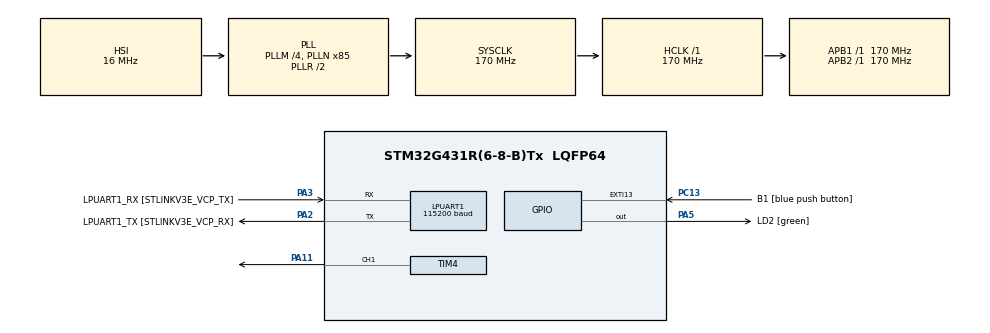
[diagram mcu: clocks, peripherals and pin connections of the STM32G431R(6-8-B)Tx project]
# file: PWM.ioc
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LPUART1.BaudRate=115200
LPUART1.WordLength=UART_WORDLENGTH_8B
Mcu.Family=STM32G4
Mcu.Name=STM32G431R(6-8-B)Tx
Mcu.Package=LQFP64
NVIC.EXTI15_10_IRQn=true\:0\:0\:false\:false\:true\:true\:true\:true
NVIC.PriorityGroup=NVIC_PRIORITYGROUP_4
NVIC.TIM8_UP_IRQn=true\:0\:0\:false\:false\:true\:true\:true\:true
PA11.Signal=S_TIM4_CH1
PA13.GPIO_Label=T_SWDIO
PA13.Mode=Serial_Wire
PA13.Signal=SYS_JTMS-SWDIO
PA14.GPIO_Label=T_SWCLK
PA14.Mode=Serial_Wire
PA14.Signal=SYS_JTCK-SWCLK
PA2.GPIO_Label=LPUART1_TX [STLINKV3E_VCP_RX]
PA2.Mode=Asynchronous
PA2.Signal=LPUART1_TX
PA3.GPIO_Label=LPUART1_RX [STLINKV3E_VCP_TX]
PA3.Mode=Asynchronous
PA3.Signal=LPUART1_RX
PA5.GPIO_Label=LD2 [green]
PA5.Signal=GPIO_Output
PB3.GPIO_Label=T_SWO
PB3.Signal=SYS_JTDO-SWO
PC13.GPIO_Label=B1 [blue push button]
PC13.GPIO_ModeDefaultEXTI=GPIO_MODE_IT_RISING
PC13.GPIO_PuPd=GPIO_NOPULL
PC13.Signal=GPXTI13
PC14-OSC32_IN.Mode=LSE-External-Oscillator
PC14-OSC32_IN.Signal=RCC_OSC32_IN
PC15-OSC32_OUT.Mode=LSE-External-Oscillator
PC15-OSC32_OUT.Signal=RCC_OSC32_OUT
PF0-OSC_IN.Mode=HSE-External-Oscillator
PF0-OSC_IN.Signal=RCC_OSC_IN
PF1-OSC_OUT.Mode=HSE-External-Oscillator
PF1-OSC_OUT.Signal=RCC_OSC_OUT
ProjectManager.HeapSize=0x200
ProjectManager.StackSize=0x400
ProjectManager.TargetToolchain=STM32CubeIDE
RCC.ADC12Freq_Value=170000000
RCC.AHBFreq_Value=170000000
RCC.APB1Freq_Value=170000000
RCC.APB1TimFreq_Value=170000000
RCC.APB2Freq_Value=170000000
RCC.APB2TimFreq_Value=170000000
RCC.CortexFreq_Value=170000000
RCC.EXTERNAL_CLOCK_VALUE=12288000
RCC.HCLKFreq_Value=170000000
RCC.HSE_VALUE=24000000
RCC.HSI48_VALUE=48000000
RCC.HSI_VALUE=16000000
RCC.PLLM=RCC_PLLM_DIV4
RCC.PLLN=85
RCC.RTCClockSelection=RCC_RTCCLKSOURCE_LSE
RCC.SYSCLKFreq_VALUE=170000000
RCC.SYSCLKSource=RCC_SYSCLKSOURCE_PLLCLK
RCC.USBFreq_Value=170000000
RCC.VCOOutputFreq_Value=340000000
SH.S_TIM4_CH1.0=TIM4_CH1,PWM Generation1 CH1
TIM4.Channel-PWM\ Generation1\ CH1=TIM_CHANNEL_1
TIM4.PeriodNoDither=999
TIM4.Prescaler=169
TIM4.PulseNoDither_1=999
TIM8.PeriodNoDither=9999
TIM8.Prescaler=16999
VP_SYS_VS_DBSignals.Mode=DisableDeadBatterySignals
VP_TIM8_VS_ClockSourceINT.Mode=Internal
board=NUCLEO-G431RB

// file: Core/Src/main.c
/* USER CODE BEGIN Header */
/**
  ******************************************************************************
  * @file           : main.c
  * @brief          : Main program body
  ******************************************************************************
  * @attention
  *
  * Copyright (c) 2024 STMicroelectronics.
  * All rights reserved.
  *
  * This software is licensed under terms that can be found in the LICENSE file
  * in the root directory of this software component.
  * If no LICENSE file comes with this software, it is provided AS-IS.
  *
  ******************************************************************************
  */
/* USER CODE END Header */
#include "main.h"

UART_HandleTypeDef hlpuart1;

TIM_HandleTypeDef htim4;
TIM_HandleTypeDef htim8;

/* USER CODE BEGIN PV */
double Duty_Cycle = 0.0;
double freq = 0.0;
/* USER CODE END PV */

void SystemClock_Config(void);
static void MX_GPIO_Init(void);
static void MX_LPUART1_UART_Init(void);
static void MX_TIM4_Init(void);
static void MX_TIM8_Init(void);

/* USER CODE BEGIN 0 */
int i = 0;
/* USER CODE END 0 */

int main(void)
{

  /* MCU Configuration--------------------------------------------------------*/

  /* Reset of all peripherals, Initializes the Flash interface and the Systick. */
  HAL_Init();

  /* Configure the system clock */
  SystemClock_Config();

  /* Initialize all configured peripherals */
  MX_GPIO_Init();
  MX_LPUART1_UART_Init();
  MX_TIM4_Init();
  MX_TIM8_Init();
  /* USER CODE BEGIN 2 */
  HAL_TIM_PWM_Start(&htim4, TIM_CHANNEL_1);
  HAL_TIM_Base_Start_IT(&htim8);
  /* USER CODE END 2 */

  /* Infinite loop */
  while (1)
  {

    /* USER CODE BEGIN 3 */

	  // Beginner
	  // ARR+1 = 1000
//	  __HAL_TIM_SET_COMPARE(&htim4, TIM_CHANNEL_1, 300);
//	  HAL_Delay(500);
//	  __HAL_TIM_SET_COMPARE(&htim4, TIM_CHANNEL_1, 500);
//	  HAL_Delay(500);
//	  __HAL_TIM_SET_COMPARE(&htim4, TIM_CHANNEL_1, 700);
//	  HAL_Delay(500);
//	  __HAL_TIM_SET_COMPARE(&htim4, TIM_CHANNEL_1, 900);
//	  HAL_Delay(500);

	  // Basic
	  // ARR+1 = 1000
//	  for(i=0; i<999;i++){
//		  HAL_Delay(1);
//		  __HAL_TIM_SET_COMPARE(&htim4, TIM_CHANNEL_1, i);
//	  }
//	  for(i=999; i>0;i--){
//		  HAL_Delay(1);
//		  __HAL_TIM_SET_COMPARE(&htim4, TIM_CHANNEL_1, i);
//	  }

	  // Advanced - 1
	  // Initial: PSC = 169, ARR = 999, Pulse = 1000
//	  for(int i=999; i<1999; i++){
//	      HAL_TIM_SET_AUTORELOAD(&htim4, i);
//	      freq = 170*1000000/((i+1)*(169+1));
//	      Duty_Cycle = 1000/(i+1);
//	      Delay(200);
//	  }
//	  for(int i=1999; i>999; i--){
//	      HAL_TIM_SET_AUTORELOAD(&htim4, i);
//	      freq = 170*1000000/((i+1)*(169+1));
//	      Duty_Cycle = 1000/(i+1);
//	      Delay(200);
//	  }

	  // Advanced - 2 is in section "User code 4"
  }
  /* USER CODE END 3 */
}

void SystemClock_Config(void)
{
  RCC_OscInitTypeDef RCC_OscInitStruct = {0};
  RCC_ClkInitTypeDef RCC_ClkInitStruct = {0};

  /** Configure the main internal regulator output voltage
  */
  HAL_PWREx_ControlVoltageScaling(PWR_REGULATOR_VOLTAGE_SCALE1_BOOST);

  /** Initializes the RCC Oscillators according to the specified parameters
  * in the RCC_OscInitTypeDef structure.
  */
  RCC_OscInitStruct.OscillatorType = RCC_OSCILLATORTYPE_HSI;
  RCC_OscInitStruct.HSIState = RCC_HSI_ON;
  RCC_OscInitStruct.HSICalibrationValue = RCC_HSICALIBRATION_DEFAULT;
  RCC_OscInitStruct.PLL.PLLState = RCC_PLL_ON;
  RCC_OscInitStruct.PLL.PLLSource = RCC_PLLSOURCE_HSI;
  RCC_OscInitStruct.PLL.PLLM = RCC_PLLM_DIV4;
  RCC_OscInitStruct.PLL.PLLN = 85;
  RCC_OscInitStruct.PLL.PLLP = RCC_PLLP_DIV2;
  RCC_OscInitStruct.PLL.PLLQ = RCC_PLLQ_DIV2;
  RCC_OscInitStruct.PLL.PLLR = RCC_PLLR_DIV2;
  if (HAL_RCC_OscConfig(&RCC_OscInitStruct) != HAL_OK)
  {
    Error_Handler();
  }

  /** Initializes the CPU, AHB and APB buses clocks
  */
  RCC_ClkInitStruct.ClockType = RCC_CLOCKTYPE_HCLK|RCC_CLOCKTYPE_SYSCLK
                              |RCC_CLOCKTYPE_PCLK1|RCC_CLOCKTYPE_PCLK2;
  RCC_ClkInitStruct.SYSCLKSource = RCC_SYSCLKSOURCE_PLLCLK;
  RCC_ClkInitStruct.AHBCLKDivider = RCC_SYSCLK_DIV1;
  RCC_ClkInitStruct.APB1CLKDivider = RCC_HCLK_DIV1;
  RCC_ClkInitStruct.APB2CLKDivider = RCC_HCLK_DIV1;

  if (HAL_RCC_ClockConfig(&RCC_ClkInitStruct, FLASH_LATENCY_4) != HAL_OK)
  {
    Error_Handler();
  }
}

static void MX_LPUART1_UART_Init(void)
{

  hlpuart1.Instance = LPUART1;
  hlpuart1.Init.BaudRate = 115200;
  hlpuart1.Init.WordLength = UART_WORDLENGTH_8B;
  hlpuart1.Init.StopBits = UART_STOPBITS_1;
  hlpuart1.Init.Parity = UART_PARITY_NONE;
  hlpuart1.Init.Mode = UART_MODE_TX_RX;
  hlpuart1.Init.HwFlowCtl = UART_HWCONTROL_NONE;
  hlpuart1.Init.OneBitSampling = UART_ONE_BIT_SAMPLE_DISABLE;
  hlpuart1.Init.ClockPrescaler = UART_PRESCALER_DIV1;
  hlpuart1.AdvancedInit.AdvFeatureInit = UART_ADVFEATURE_NO_INIT;
  if (HAL_UART_Init(&hlpuart1) != HAL_OK)
  {
    Error_Handler();
  }
  if (HAL_UARTEx_SetTxFifoThreshold(&hlpuart1, UART_TXFIFO_THRESHOLD_1_8) != HAL_OK)
  {
    Error_Handler();
  }
  if (HAL_UARTEx_SetRxFifoThreshold(&hlpuart1, UART_RXFIFO_THRESHOLD_1_8) != HAL_OK)
  {
    Error_Handler();
  }
  if (HAL_UARTEx_DisableFifoMode(&hlpuart1) != HAL_OK)
  {
    Error_Handler();
  }

}

static void MX_TIM4_Init(void)
{

  TIM_MasterConfigTypeDef sMasterConfig = {0};
  TIM_OC_InitTypeDef sConfigOC = {0};

  htim4.Instance = TIM4;
  htim4.Init.Prescaler = 169;
  htim4.Init.CounterMode = TIM_COUNTERMODE_UP;
  htim4.Init.Period = 999;
  htim4.Init.ClockDivision = TIM_CLOCKDIVISION_DIV1;
  htim4.Init.AutoReloadPreload = TIM_AUTORELOAD_PRELOAD_DISABLE;
  if (HAL_TIM_PWM_Init(&htim4) != HAL_OK)
  {
    Error_Handler();
  }
  sMasterConfig.MasterOutputTrigger = TIM_TRGO_RESET;
  sMasterConfig.MasterSlaveMode = TIM_MASTERSLAVEMODE_DISABLE;
  if (HAL_TIMEx_MasterConfigSynchronization(&htim4, &sMasterConfig) != HAL_OK)
  {
    Error_Handler();
  }
  sConfigOC.OCMode = TIM_OCMODE_PWM1;
  sConfigOC.Pulse = 999;
  sConfigOC.OCPolarity = TIM_OCPOLARITY_HIGH;
  sConfigOC.OCFastMode = TIM_OCFAST_DISABLE;
  if (HAL_TIM_PWM_ConfigChannel(&htim4, &sConfigOC, TIM_CHANNEL_1) != HAL_OK)
  {
    Error_Handler();
  }
  HAL_TIM_MspPostInit(&htim4);

}

static void MX_TIM8_Init(void)
{

  TIM_ClockConfigTypeDef sClockSourceConfig = {0};
  TIM_MasterConfigTypeDef sMasterConfig = {0};

  htim8.Instance = TIM8;
  htim8.Init.Prescaler = 16999;
  htim8.Init.CounterMode = TIM_COUNTERMODE_UP;
  htim8.Init.Period = 9999;
  htim8.Init.ClockDivision = TIM_CLOCKDIVISION_DIV1;
  htim8.Init.RepetitionCounter = 0;
  htim8.Init.AutoReloadPreload = TIM_AUTORELOAD_PRELOAD_DISABLE;
  if (HAL_TIM_Base_Init(&htim8) != HAL_OK)
  {
    Error_Handler();
  }
  sClockSourceConfig.ClockSource = TIM_CLOCKSOURCE_INTERNAL;
  if (HAL_TIM_ConfigClockSource(&htim8, &sClockSourceConfig) != HAL_OK)
  {
    Error_Handler();
  }
  sMasterConfig.MasterOutputTrigger = TIM_TRGO_RESET;
  sMasterConfig.MasterOutputTrigger2 = TIM_TRGO2_RESET;
  sMasterConfig.MasterSlaveMode = TIM_MASTERSLAVEMODE_DISABLE;
  if (HAL_TIMEx_MasterConfigSynchronization(&htim8, &sMasterConfig) != HAL_OK)
  {
    Error_Handler();
  }

}

static void MX_GPIO_Init(void)
{
  GPIO_InitTypeDef GPIO_InitStruct = {0};

  /* GPIO Ports Clock Enable */
  __HAL_RCC_GPIOC_CLK_ENABLE();
  __HAL_RCC_GPIOF_CLK_ENABLE();
  __HAL_RCC_GPIOA_CLK_ENABLE();
  __HAL_RCC_GPIOB_CLK_ENABLE();

  /*Configure GPIO pin Output Level */
  HAL_GPIO_WritePin(LD2_GPIO_Port, LD2_Pin, GPIO_PIN_RESET);

  /*Configure GPIO pin : B1_Pin */
  GPIO_InitStruct.Pin = B1_Pin;
  GPIO_InitStruct.Mode = GPIO_MODE_IT_RISING;
  GPIO_InitStruct.Pull = GPIO_NOPULL;
  HAL_GPIO_Init(B1_GPIO_Port, &GPIO_InitStruct);

  /*Configure GPIO pin : LD2_Pin */
  GPIO_InitStruct.Pin = LD2_Pin;
  GPIO_InitStruct.Mode = GPIO_MODE_OUTPUT_PP;
  GPIO_InitStruct.Pull = GPIO_NOPULL;
  GPIO_InitStruct.Speed = GPIO_SPEED_FREQ_LOW;
  HAL_GPIO_Init(LD2_GPIO_Port, &GPIO_InitStruct);

  /* EXTI interrupt init*/
  HAL_NVIC_SetPriority(EXTI15_10_IRQn, 0, 0);
  HAL_NVIC_EnableIRQ(EXTI15_10_IRQn);

}

/* USER CODE BEGIN 4 */
// Advanced - 2
int pulse = 0;
int rising = 1;
int toggle = 0;
void HAL_GPIO_EXTI_Callback(uint16_t GPIO_Pin){
	if(GPIO_Pin == GPIO_PIN_13){
		if(rising)	pulse += 100;
		else	pulse -= 100;
		if(pulse == 1000)	rising = 0;
		if(pulse == 0)	rising = 1;
	}
}
void HAL_TIM_PeriodElapsedCallback(TIM_HandleTypeDef *htim){
	if(htim->Instance == TIM8){
		if(toggle){
			__HAL_TIM_SET_COMPARE(&htim4, TIM_CHANNEL_1, pulse);
			toggle = 0;
		}
		else{
			__HAL_TIM_SET_COMPARE(&htim4, TIM_CHANNEL_1, 0);
			toggle = 1;
		}
	}
}
/* USER CODE END 4 */

void Error_Handler(void)
{
  __disable_irq();
  while (1)
  {
  }
}
